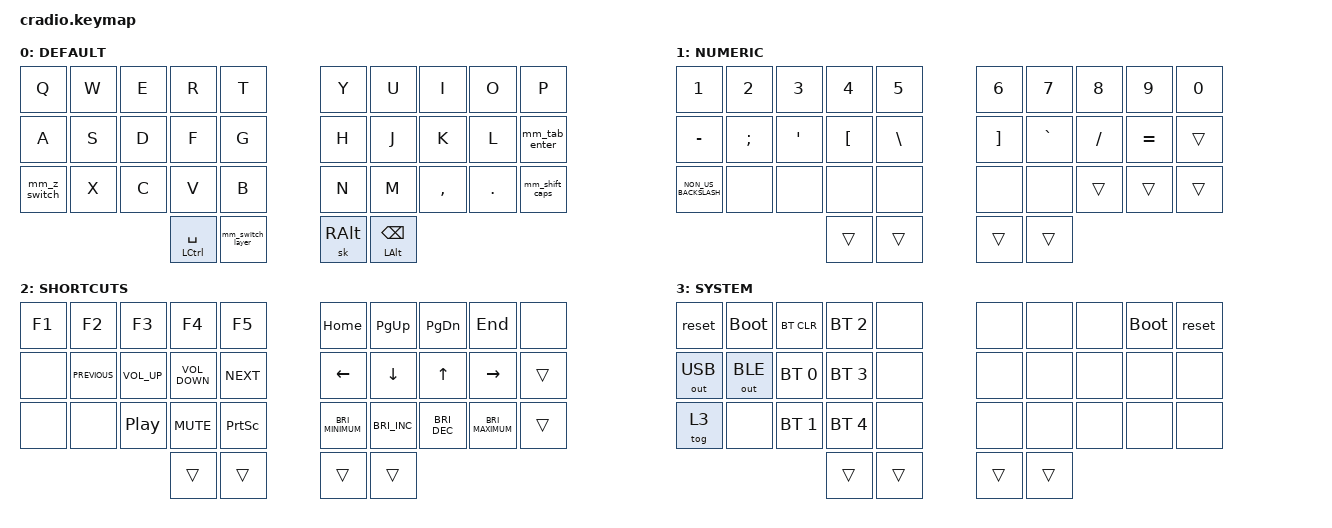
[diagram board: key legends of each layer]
 /*
 * Copyright (c) 2020 The ZMK Contributors
 *
 * SPDX-License-Identifier: MIT
 */

#include <behaviors.dtsi>
#include <dt-bindings/zmk/keys.h>
#include <dt-bindings/zmk/bt.h>
#include <dt-bindings/zmk/outputs.h>

&mt {
    //  flavor = "tap-preferred";

    tapping_term_ms = <300>;
};

&sl {
    release-after-ms = <1500>;
};

/ {
    behaviors {
        mm_tab_enter: mm_tab_enter {
            compatible = "zmk,behavior-mod-morph";
            label = "mm_tab_enter";
            #binding-cells = <0>;
            bindings =
                <&kp TAB>,
                <&kp ENTER>;

            mods = <MOD_RALT>;
        };
        mm_shift_caps: mm_shift_caps {
            compatible = "zmk,behavior-mod-morph";
            label = "mm_shift_caps";
            #binding-cells = <0>;
            bindings =
                <&sk LEFT_SHIFT>,
                <&kt LEFT_SHIFT>;

            mods = <MOD_RALT>;
        };
        mm_switch_layer: mm_switch_layer {
            compatible = "zmk,behavior-mod-morph";
            label = "mm_switch_layer";
            #binding-cells = <0>;
            bindings =
                <&mo 1>,
                <&tog 2>;

            mods = <MOD_RALT>;
        };
        mm_z_switch: mm_z_switch {
            compatible = "zmk,behavior-mod-morph";
            label = "mm_z_switch";
            #binding-cells = <0>;
            bindings =
                <&kp A>,
                <&tog 3>;

            mods = <MOD_RALT>;
        };

        mm_y_switch: mm_y_switch {
            compatible = "zmk,behavior-mod-morph";
            label = "mm_z_switch";
            #binding-cells = <0>;
            bindings =
                <&kp Y>,
                <&kp LEFT_SHIFT>;

            mods = <MOD_RALT>;
        };
    };
 ̇
    combos {
        compatible = "zmk,combos";

        combo_esc_1 {
            bindings = <&kp ESC>;
            key-positions = <0 1>;
        };

        combo_esc_2 {
            bindings = <&kp ESC>;
            key-positions = <9 8>;
        };

        combo_super_left {
            bindings = <&kp LWIN>;
            key-positions = <13 12>;
        };

        combo_super_right {
            bindings = <&kp RGUI>;
            key-positions = <16 17>;
        };
    };

    keymap {
        compatible = "zmk,keymap";

        DEFAULT {
            bindings = <
        &kp Q   &kp W   &kp E                   &kp R             &kp T     &kp Y                   &kp U      &kp I    &kp O           &kp P
        &kp A   &kp S   &kp D                   &kp F             &kp G     &kp H                   &kp J      &kp K    &kp L   &mm_tab_enter
 &mm_z_switch   &kp X   &kp C                   &kp V             &kp B     &kp N                   &kp M  &kp COMMA  &kp DOT  &mm_shift_caps
                               &mt LEFT_CONTROL SPACE  &mm_switch_layer  &sk RALT  &mt LEFT_ALT BACKSPACE
            >;
        };

        NUMERIC {
            bindings = <
         &kp NUMBER_1   &kp NUMBER_2      &kp NUMBER_3      &kp NUMBER_4   &kp NUMBER_5       &kp NUMBER_6  &kp NUMBER_7  &kp NUMBER_8  &kp NUMBER_9  &kp NUMBER_0
            &kp MINUS  &kp SEMICOLON  &kp SINGLE_QUOTE  &kp LEFT_BRACKET  &kp BACKSLASH  &kp RIGHT_BRACKET     &kp GRAVE     &kp SLASH     &kp EQUAL        &trans
 &kp NON_US_BACKSLASH          &none             &none             &none          &none              &none         &none        &trans        &trans        &trans
                                                                  &trans         &trans             &trans        &trans
            >;
        };

        SHORTCUTS {
            bindings = <
 &kp F1          &kp F2            &kp F3             &kp F4           &kp F5                  &kp HOME           &kp PAGE_UP         &kp PAGE_DOWN                   &kp END   &none
  &none  &kp C_PREVIOUS   &kp K_VOLUME_UP  &kp K_VOLUME_DOWN       &kp C_NEXT                  &kp LEFT              &kp DOWN                &kp UP                 &kp RIGHT  &trans
  &none           &none  &kp C_PLAY_PAUSE         &kp C_MUTE  &kp PRINTSCREEN  &kp C_BRIGHTNESS_MINIMUM  &kp C_BRIGHTNESS_INC  &kp C_BRIGHTNESS_DEC  &kp C_BRIGHTNESS_MAXIMUM  &trans
                                                      &trans           &trans                    &trans                &trans
            >;
        };

        SYSTEM {
            bindings = <
       &reset   &bootloader    &bt BT_CLR  &bt BT_SEL 2   &none   &none   &none   &none  &bootloader  &reset
 &out OUT_USB  &out OUT_BLE  &bt BT_SEL 0  &bt BT_SEL 3   &none   &none   &none   &none        &none   &none
       &tog 3         &none  &bt BT_SEL 1  &bt BT_SEL 4   &none   &none   &none   &none        &none   &none
                                                 &trans  &trans  &trans  &trans
            >;
        };
    };
};
